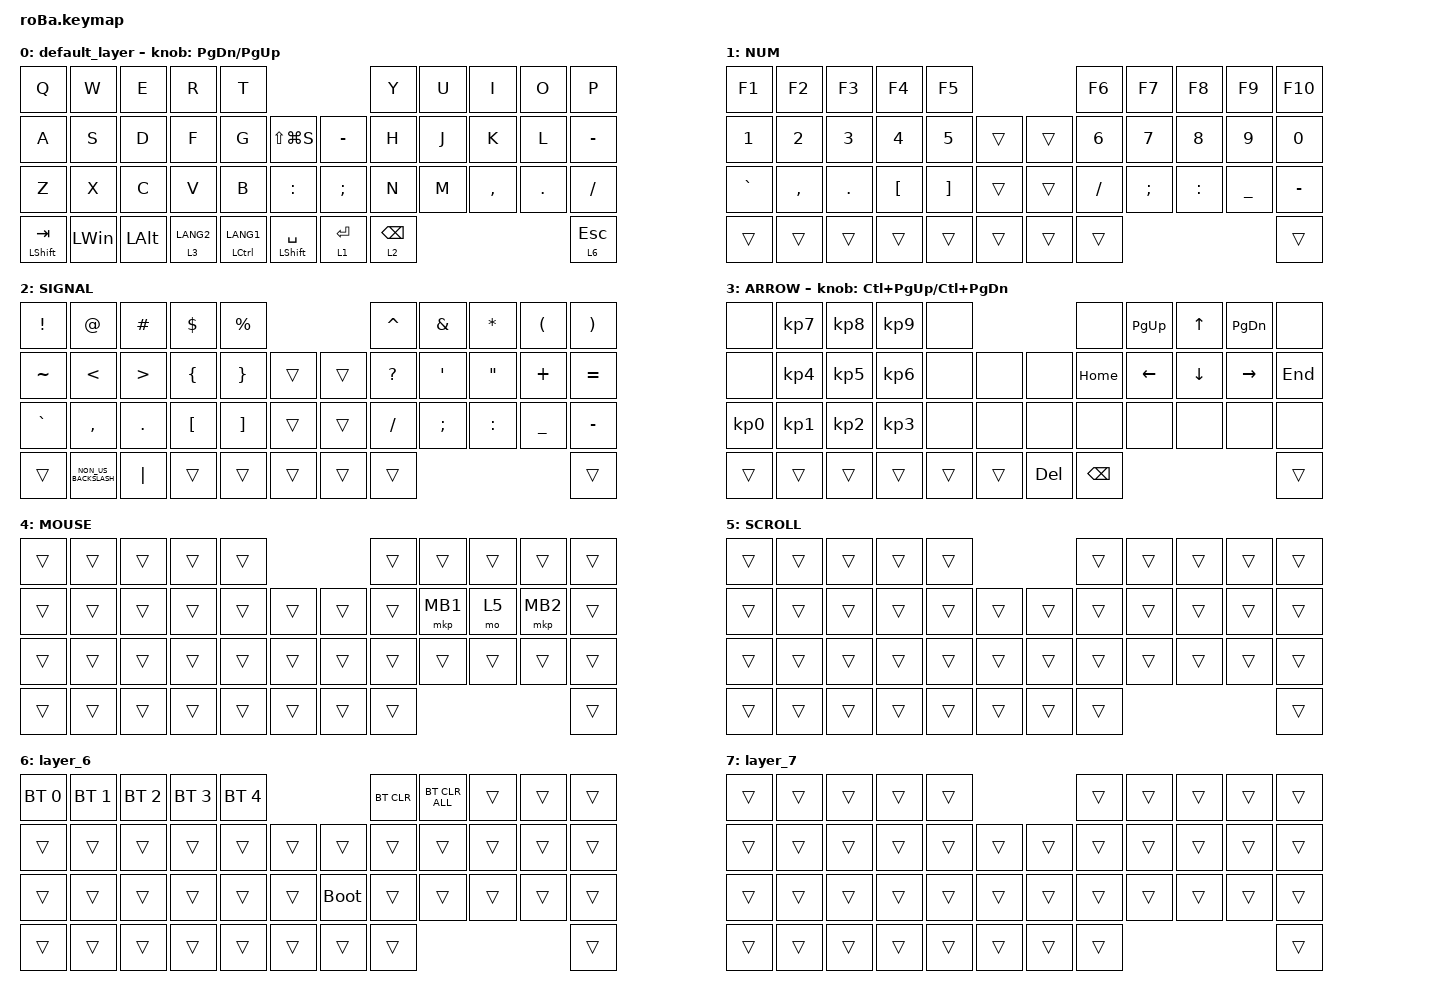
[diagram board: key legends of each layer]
#include <behaviors.dtsi>
#include <dt-bindings/zmk/bt.h>
#include <dt-bindings/zmk/keys.h>
#include <dt-bindings/zmk/pointing.h>

&mt {
    flavor = "balanced";
    quick-tap-ms = <0>;
};

&trackball {
    automouse-layer = <4>;
    scroll-layers = <5>;

    // arrows {
    //     layers = <3>;
    //     bindings =
    //         <&kp RIGHT_ARROW>,
    //         <&kp LEFT_ARROW>,
    //         <&kp UP_ARROW>,
    //         <&kp DOWN_ARROW>;
    //     tick = <10>;
    //     wait-ms = <5>;
    //     tap-ms = <5>;
    // };
};

/ {
    combos {
        compatible = "zmk,combos";

        tab {
            bindings = <&kp TAB>;
            key-positions = <11 12>;
        };

        shift_tab {
            bindings = <&kp LS(TAB)>;
            key-positions = <12 13>;
        };

        muhennkann {
            bindings = <&to_layer_0 INT_MUHENKAN>;
            key-positions = <11 10>;
        };

        double_quotation {
            bindings = <&kp DOUBLE_QUOTES>;
            key-positions = <20 21>;
        };

        eq {
            bindings = <&kp EQUAL>;
            key-positions = <24 25>;
        };
    };

    macros {
        to_layer_0: to_layer_0 {
            compatible = "zmk,behavior-macro-one-param";
            #binding-cells = <1>;
            bindings = <&to 0 &macro_param_1to1 &kp MACRO_PLACEHOLDER>;
            label = "TO_LAYER_0";
        };
    };

    behaviors {
        lt_to_layer_0: lt_to_layer_0 {
            compatible = "zmk,behavior-hold-tap";
            label = "LAYER_TAP_TO_0";
            bindings = <&mo>, <&to_layer_0>;

            #binding-cells = <2>;
            tapping-term-ms = <200>;
        };
    };

    keymap {
        compatible = "zmk,keymap";

        default_layer {
            bindings = <
&kp Q               &kp W         &kp E         &kp R        &kp T                                                     &kp Y            &kp U  &kp I      &kp O    &kp P
&kp A               &kp S         &kp D         &kp F        &kp G            &kp LS(LG(S))             &kp MINUS      &kp H            &kp J  &kp K      &kp L    &kp MINUS
&kp Z               &kp X         &kp C         &kp V        &kp B            &kp COLON                 &kp SEMICOLON  &kp N            &kp M  &kp COMMA  &kp DOT  &kp SLASH
&mt LEFT_SHIFT TAB  &kp LEFT_WIN  &kp LEFT_ALT  &lt 3 LANG2  &mt LCTRL LANG1  &mt LEFT_SHIFT SPACE      &lt 1 ENTER    &lt 2 BACKSPACE                             &lt 6 ESCAPE
            >;

            sensor-bindings = <&inc_dec_kp PAGE_DOWN PAGE_UP>;
        };

        NUM {
            bindings = <
&kp F1        &kp F2        &kp F3        &kp F4            &kp F5                                 &kp F6        &kp F7         &kp F8        &kp F9          &kp F10
&kp NUMBER_1  &kp NUMBER_2  &kp NUMBER_3  &kp NUMBER_4      &kp NUMBER_5       &trans      &trans  &kp NUMBER_6  &kp NUMBER_7   &kp NUMBER_8  &kp NUMBER_9    &kp NUMBER_0
&kp GRAVE     &kp COMMA     &kp PERIOD    &kp LEFT_BRACKET  &kp RIGHT_BRACKET  &trans      &trans  &kp SLASH     &kp SEMICOLON  &kp COLON     &kp UNDERSCORE  &kp MINUS
&trans        &trans        &trans        &trans            &trans             &trans      &trans  &trans                                                     &trans
            >;
        };

        SIGNAL {
            bindings = <
&kp EXCLAMATION  &kp AT_SIGN           &kp HASH          &kp DOLLAR        &kp PERCENT                            &kp CARET     &kp AMPERSAND  &kp ASTERISK       &kp LEFT_PARENTHESIS  &kp RIGHT_PARENTHESIS
&kp TILDE        &kp LESS_THAN         &kp GREATER_THAN  &kp LEFT_BRACE    &kp RIGHT_BRACE    &trans      &trans  &kp QUESTION  &kp SQT        &kp DOUBLE_QUOTES  &kp PLUS              &kp EQUAL
&kp GRAVE        &kp COMMA             &kp PERIOD        &kp LEFT_BRACKET  &kp RIGHT_BRACKET  &trans      &trans  &kp SLASH     &kp SEMICOLON  &kp COLON          &kp UNDERSCORE        &kp MINUS
&trans           &kp NON_US_BACKSLASH  &kp PIPE          &trans            &trans             &trans      &trans  &trans                                                                &trans
            >;
        };

        ARROW {
            bindings = <
&none            &kp KP_NUMBER_7  &kp KP_NUMBER_8  &kp KP_NUMBER_9  &none                        &none          &kp PAGE_UP  &kp UP_ARROW  &kp PAGE_DOWN  &none
&none            &kp KP_NUMBER_4  &kp KP_NUMBER_5  &kp KP_NUMBER_6  &none   &none       &none    &kp HOME       &kp LEFT     &kp DOWN      &kp RIGHT      &kp END
&kp KP_NUMBER_0  &kp KP_NUMBER_1  &kp KP_NUMBER_2  &kp KP_NUMBER_3  &none   &none       &none    &none          &none        &none         &none          &none
&trans           &trans           &trans           &trans           &trans  &trans      &kp DEL  &kp BACKSPACE                                            &trans
            >;

            sensor-bindings = <&inc_dec_kp LC(PAGE_UP) LC(PAGE_DOWN)>;
        };

        MOUSE {
            bindings = <
&trans  &trans  &trans  &trans  &trans                      &trans  &trans    &trans  &trans    &trans
&trans  &trans  &trans  &trans  &trans  &trans      &trans  &trans  &mkp MB1  &mo 5   &mkp MB2  &trans
&trans  &trans  &trans  &trans  &trans  &trans      &trans  &trans  &trans    &trans  &trans    &trans
&trans  &trans  &trans  &trans  &trans  &trans      &trans  &trans                              &trans
            >;
        };

        SCROLL {
            bindings = <
&trans  &trans  &trans  &trans  &trans                      &trans  &trans  &trans  &trans  &trans
&trans  &trans  &trans  &trans  &trans  &trans      &trans  &trans  &trans  &trans  &trans  &trans
&trans  &trans  &trans  &trans  &trans  &trans      &trans  &trans  &trans  &trans  &trans  &trans
&trans  &trans  &trans  &trans  &trans  &trans      &trans  &trans                          &trans
            >;
        };

        layer_6 {
            bindings = <
&bt BT_SEL 0  &bt BT_SEL 1  &bt BT_SEL 2  &bt BT_SEL 3  &bt BT_SEL 4                           &bt BT_CLR  &bt BT_CLR_ALL  &trans  &trans  &trans
&trans        &trans        &trans        &trans        &trans        &trans      &trans       &trans      &trans          &trans  &trans  &trans
&trans        &trans        &trans        &trans        &trans        &trans      &bootloader  &trans      &trans          &trans  &trans  &trans
&trans        &trans        &trans        &trans        &trans        &trans      &trans       &trans                                      &trans
            >;
        };

        layer_7 {
            bindings = <
&trans  &trans  &trans  &trans  &trans                      &trans  &trans  &trans  &trans  &trans
&trans  &trans  &trans  &trans  &trans  &trans      &trans  &trans  &trans  &trans  &trans  &trans
&trans  &trans  &trans  &trans  &trans  &trans      &trans  &trans  &trans  &trans  &trans  &trans
&trans  &trans  &trans  &trans  &trans  &trans      &trans  &trans                          &trans
            >;
        };
    };
};
